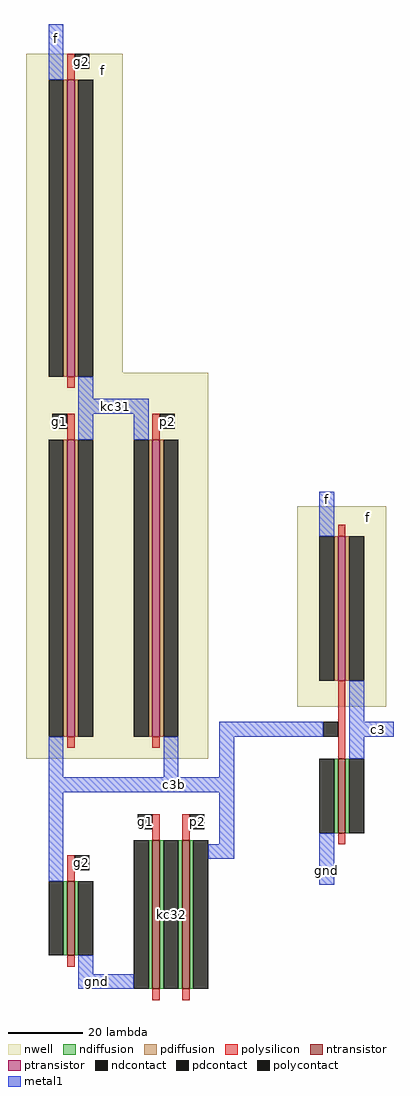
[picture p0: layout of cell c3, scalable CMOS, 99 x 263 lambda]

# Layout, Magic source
magic
tech scmos
<< nwell >>
rect -20 165 6 251
rect -20 61 29 165
rect 53 75 77 129
<< ntransistor >>
rect 64 41 66 61
rect -9 8 -7 28
rect 14 -1 16 39
rect 22 -1 24 39
<< ptransistor >>
rect -9 164 -7 244
rect -9 67 -7 147
rect 14 67 16 147
rect 64 82 66 121
<< ndiffusion >>
rect 63 41 64 61
rect 66 41 67 61
rect -10 8 -9 28
rect -7 8 -6 28
rect 13 -1 14 39
rect 16 -1 17 39
rect 21 -1 22 39
rect 24 -1 25 39
<< pdiffusion >>
rect -10 164 -9 244
rect -7 164 -6 244
rect -10 67 -9 147
rect -7 67 -6 147
rect 13 67 14 147
rect 16 67 17 147
rect 63 82 64 121
rect 66 82 67 121
<< ndcontact >>
rect 59 41 63 61
rect 67 41 71 61
rect -14 8 -10 28
rect -6 8 -2 28
rect 9 -1 13 39
rect 17 -1 21 39
rect 25 -1 29 39
<< pdcontact >>
rect -14 164 -10 244
rect -6 164 -2 244
rect -14 67 -10 147
rect -6 67 -2 147
rect 9 67 13 147
rect 17 67 21 147
rect 59 82 63 121
rect 67 82 71 121
<< polysilicon >>
rect -9 244 -7 251
rect -9 161 -7 164
rect -9 147 -7 154
rect 14 147 16 154
rect 64 121 66 124
rect -9 64 -7 67
rect 14 64 16 67
rect 64 61 66 82
rect 14 39 16 46
rect 22 39 24 46
rect -9 28 -7 35
rect -9 5 -7 8
rect 64 38 66 41
rect 14 -4 16 -1
rect 22 -4 24 -1
<< polycontact >>
rect -7 247 -3 251
rect -13 150 -9 154
rect 16 150 20 154
rect 60 67 64 71
rect 10 42 14 46
rect 24 42 28 46
rect -7 31 -3 35
<< metal1 >>
rect -14 244 -10 259
rect -6 158 -2 164
rect -6 154 13 158
rect -6 147 -2 154
rect 9 147 13 154
rect 59 121 63 133
rect 67 71 71 82
rect -14 56 -10 67
rect 17 56 21 67
rect 32 67 60 71
rect 67 67 79 71
rect 32 56 36 67
rect 67 61 71 67
rect -14 52 36 56
rect -14 28 -10 52
rect -6 3 -2 8
rect -6 -1 9 3
rect 32 38 36 52
rect 29 34 36 38
rect 59 27 63 41
<< labels >>
rlabel polycontact -6 248 -4 250 1 g2
rlabel metal1 -13 254 -11 256 5 f
rlabel polycontact -12 151 -10 153 1 g1
rlabel polycontact 17 151 19 153 1 p2
rlabel polycontact 11 43 13 45 1 g1
rlabel polycontact 25 43 27 45 1 p2
rlabel polycontact -6 32 -4 34 1 g2
rlabel metal1 60 130 62 132 1 f
rlabel nwell 71 125 73 127 1 f
rlabel metal1 74 68 76 70 7 c3
rlabel metal1 19 53 21 55 1 c3b
rlabel metal1 60 30 62 32 1 gnd
rlabel metal1 -2 0 0 2 1 gnd
rlabel nwell -1 245 2 248 1 f
rlabel space -8 -16 -5 -14 1 gnd
rlabel metal1 3 155 5 157 1 kc31
rlabel ndcontact 18 18 20 20 1 kc32
<< end >>
